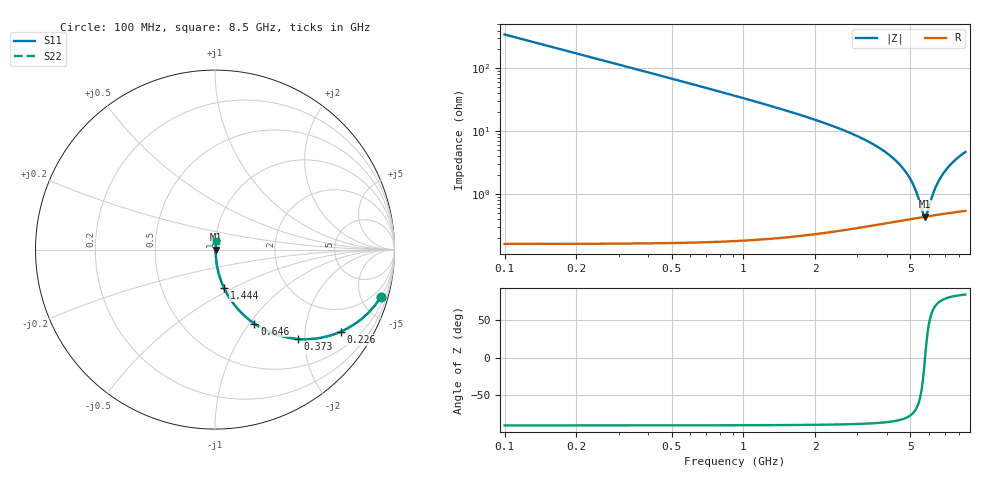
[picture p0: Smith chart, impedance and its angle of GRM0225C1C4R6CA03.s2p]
!Murata Part Number: GRM0225C1C4R6CA03
!These Parameters are Measured in Series Mode Connection
!Data Generated on Mar 30, 2021
!  o--ll--o
!Port1  Port2
!  o------o
!Operation Temp=25[degC], DC Bias Voltage=0[V]
!Freq. Start=100[MHz] Stop=9[GHz] 401[Steps]
# Hz S RI R 50
!Freq.(Hz) S11(Real) S11(Imag) S21(Real) S21(Imag) S12(Real) S12(Imag) S22(Real) S22(Imag)
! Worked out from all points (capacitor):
!   401 points, 100 MHz to 8.5 GHz, reference 50 ohm
!   read as one part in series: C = 4.6 pF near 142 MHz
!   lowest |Z| = 434 mohm at 5.749 GHz (marker M1)
!   series resonance near 5.762 GHz, so ESL is about 170 pH
!   S11 on the Smith chart (normalised r, x): 100 MHz: 1.00, -6.92; 226 MHz: 1.00, -3.06; 373 MHz: 1.00, -1.85; 646 MHz: 1.00, -1.06; 1.444 GHz: 1.00, -0.45; 8.5 GHz: 1.01, +0.09
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1e8  0.9228 -0.2667  0.0772 0.2667  0.0772 0.2667  0.9228 -0.2667
2.26e8  0.7001 -0.4577  0.2999 0.4577  0.2999 0.4577  0.7001 -0.4577
3.73e8  0.4604 -0.4975  0.5396 0.4975  0.5396 0.4975  0.4604 -0.4975
4.99e8  0.3216 -0.4659  0.6784 0.4659  0.6784 0.4659  0.3216 -0.4659
6.46e8  0.2191 -0.412  0.7809 0.412  0.7809 0.412  0.2191 -0.412
9.61e8  0.1101 -0.3105  0.8899 0.3105  0.8899 0.3105  0.1101 -0.3105
1.444e9  0.0495 -0.2124  0.9505 0.2124  0.9505 0.2124  0.0495 -0.2124
1.507e9  0.0453 -0.2031  0.9547 0.2031  0.9547 0.2031  0.0453 -0.2031
2.914e9  0.0104 -0.0864  0.9896 0.0864  0.9896 0.0864  0.0104 -0.0864
4.3e9  0.00481 -0.0348  0.9952 0.0348  0.9952 0.0348  0.00481 -0.0348
4.741e9  0.00436 -0.023  0.9956 0.023  0.9956 0.023  0.00436 -0.023
5.077e9  0.00422 -0.0148  0.9958 0.0148  0.9958 0.0148  0.00422 -0.0148
5.329e9  0.0042 -0.00914  0.9958 0.00914  0.9958 0.00914  0.0042 -0.00914
5.707e9  0.0043 -0.00112  0.9957 0.00112  0.9957 0.00112  0.0043 -0.00112
5.749e9  0.00432 -0.000269  0.9957 0.000269  0.9957 0.000269  0.00432 -0.000269
5.854e9  0.00437 0.00184  0.9956 -0.00184  0.9956 -0.00184  0.00437 0.00184
6.169e9  0.00457 0.00794  0.9954 -0.00794  0.9954 -0.00794  0.00457 0.00794
6.421e9  0.00477 0.0126  0.9952 -0.0126  0.9952 -0.0126  0.00477 0.0126
6.736e9  0.00507 0.0182  0.9949 -0.0182  0.9949 -0.0182  0.00507 0.0182
7.114e9  0.0055 0.0246  0.9945 -0.0246  0.9945 -0.0246  0.0055 0.0246
7.744e9  0.00632 0.0346  0.9937 -0.0346  0.9937 -0.0346  0.00632 0.0346
8.5e9  0.00747 0.0459  0.9925 -0.0459  0.9925 -0.0459  0.00747 0.0459
